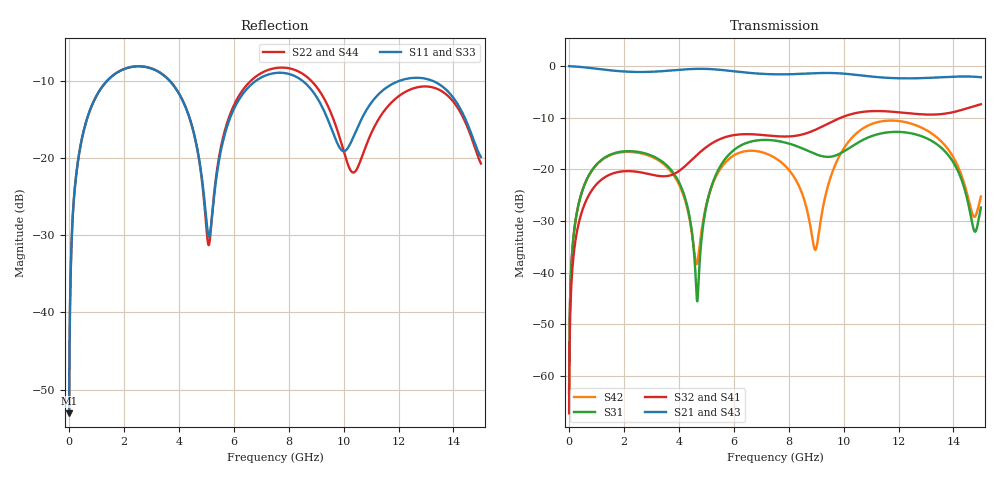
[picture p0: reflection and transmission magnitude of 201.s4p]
! Created with skrf 1.8.0 (http://scikit-rf.org).
# GHz S RI R 50.0
!freq ReS11 ImS11 ReS12 ImS12 ReS13 ImS13
! ReS14 ImS14
! ReS21 ImS21 ReS22 ImS22 ReS23 ImS23
! ReS24 ImS24
! ReS31 ImS31 ReS32 ImS32 ReS33 ImS33
! ReS34 ImS34
! ReS41 ImS41 ReS42 ImS42 ReS43 ImS43
! ReS44 ImS44
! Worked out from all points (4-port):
!   2499 points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, 5 MHz to 15 GHz, reference 50 ohm
!   strongest paths, dB at 5 MHz, 3.476 GHz, 7.19 GHz, 11.1 GHz, 15 GHz:
!     S21: 0.0, -1.0, -1.5, -2.1, -2.2
!     S43: 0.0, -1.0, -1.5, -2.1, -2.2
!     S32: -67.2, -21.3, -13.4, -8.7, -7.4
!     S41: -67.2, -21.4, -13.5, -8.8, -7.4
!     S31: -63.4, -18.8, -14.3, -13.4, -27.4
!     S42: -63.4, -19.1, -17.0, -11.1, -25.3
!   lowest |S11| = -53.1 dB at 5 MHz (marker M1), VSWR 1.00, Z = 50.2 + j0.135 ohm
!   |S11| at or under -10 dB: 3.683 GHz to 6.782 GHz (3.099 GHz wide, 59.2 % of centre); 8.526 GHz to 11.99 GHz (3.461 GHz wide, 33.7 % of centre); 13.28 GHz to end of sweep (the widest 3 of 4)
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0.005  0.00176 0.00134  0.9982 -0.00343  8.8e-05 0.000672  -8.56e-05 -0.000426
       0.9982 -0.00343  0.00176 0.00134  -8.56e-05 -0.000426  8.79e-05 0.000672
       8.8e-05 0.000672  -8.56e-05 -0.000426  0.00176 0.00134  0.9982 -0.00343
       -8.56e-05 -0.000426  8.79e-05 0.000672  0.9982 -0.00343  0.00176 0.00134
0.3626511  0.0341 0.0999  0.9529 -0.2446  0.016 0.0448  -0.0131 -0.0277
           0.9529 -0.2446  0.0342 0.0999  -0.0132 -0.0277  0.0156 0.0449
           0.016 0.0448  -0.0132 -0.0277  0.0341 0.0999  0.9529 -0.2446
           -0.0131 -0.0277  0.0156 0.0449  0.9529 -0.2446  0.0342 0.0999
1.619545  0.3063 0.1629  0.4666 -0.7736  0.1358 0.0432  -0.0913 0.00676
          0.4666 -0.7736  0.3077 0.1616  -0.0914 0.00699  0.1319 0.0497
          0.1358 0.0432  -0.0914 0.00699  0.3062 0.163  0.4665 -0.7736
          -0.0913 0.00676  0.1319 0.0497  0.4665 -0.7736  0.3078 0.1615
4.670696  0.0571 -0.101  -0.8866 -0.313  -0.00528 3.27e-05  -0.0435 0.1316
          -0.8866 -0.313  0.0526 -0.1017  -0.0411 0.1324  -0.0124 0.000192
          -0.00528 3.27e-05  -0.0411 0.1324  0.0576 -0.1007  -0.8866 -0.3128
          -0.0435 0.1316  -0.0124 0.000192  -0.8866 -0.3128  0.0519 -0.1018
7.740725  0.3592 0.00657  -0.0562 0.8299  0.1248 -0.1369  0.2035 -0.0365
          -0.0562 0.8299  0.3879 -0.0162  0.2039 -0.0424  0.1153 -0.0159
          0.1248 -0.1369  0.2039 -0.0424  0.3603 0.00755  -0.0559 0.8291
          0.2035 -0.0365  0.1153 -0.0159  -0.0559 0.8291  0.3906 -0.0165
10.53564  0.1466 0.0703  0.8161 -0.0559  -0.0218 0.181  -0.0388 -0.3517
          0.8161 -0.0559  0.0883 0.0115  -0.0498 -0.3513  0.1207 0.1972
          -0.0218 0.181  -0.0498 -0.3513  0.1454 0.0646  0.8164 -0.0552
          -0.0388 -0.3517  0.1207 0.1972  0.8164 -0.0552  0.091 0.0102
15  0.0961 -0.0345  -0.7053 -0.3345  -0.0179 0.0388  -0.1835 0.3858
    -0.7053 -0.3345  0.0884 -0.0275  -0.1607 0.3953  -0.0317 0.0443
    -0.0179 0.0388  -0.1607 0.3953  0.1058 -0.0333  -0.7056 -0.3335
    -0.1835 0.3858  -0.0317 0.0443  -0.7056 -0.3335  0.0795 -0.0319
